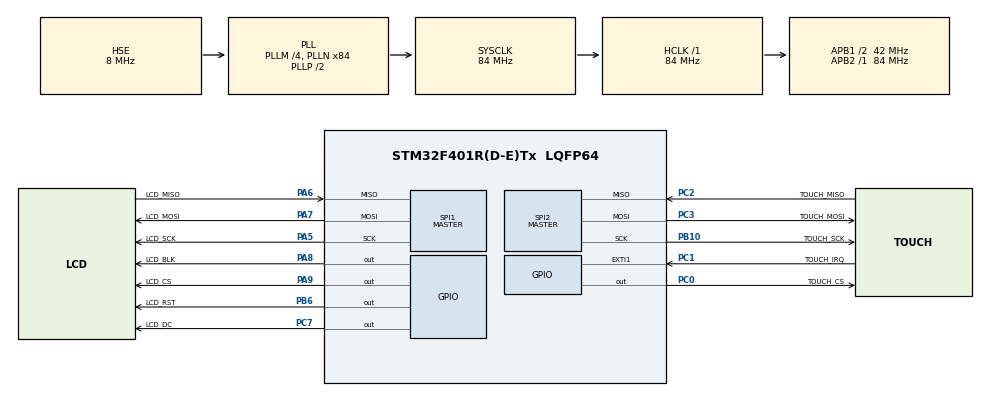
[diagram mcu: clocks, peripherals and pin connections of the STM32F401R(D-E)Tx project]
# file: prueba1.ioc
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Dma.Request0=SPI1_TX
Dma.SPI1_TX.0.Direction=DMA_MEMORY_TO_PERIPH
Dma.SPI1_TX.0.FIFOMode=DMA_FIFOMODE_DISABLE
Dma.SPI1_TX.0.Instance=DMA2_Stream3
Dma.SPI1_TX.0.MemDataAlignment=DMA_MDATAALIGN_BYTE
Dma.SPI1_TX.0.MemInc=DMA_MINC_ENABLE
Dma.SPI1_TX.0.Mode=DMA_NORMAL
Dma.SPI1_TX.0.PeriphDataAlignment=DMA_PDATAALIGN_BYTE
Dma.SPI1_TX.0.PeriphInc=DMA_PINC_DISABLE
Dma.SPI1_TX.0.Priority=DMA_PRIORITY_LOW
Mcu.Family=STM32F4
Mcu.Name=STM32F401R(D-E)Tx
Mcu.Package=LQFP64
NVIC.DMA2_Stream3_IRQn=true\:0\:0\:false\:false\:true\:false\:true\:true
NVIC.PriorityGroup=NVIC_PRIORITYGROUP_4
NVIC.TIM2_IRQn=true\:0\:0\:false\:false\:true\:true\:true\:true
PA5.GPIO_Label=LCD_SCK
PA5.Mode=Full_Duplex_Master
PA5.Signal=SPI1_SCK
PA6.GPIO_Label=LCD_MISO
PA6.Mode=Full_Duplex_Master
PA6.Signal=SPI1_MISO
PA7.GPIO_Label=LCD_MOSI
PA7.Mode=Full_Duplex_Master
PA7.Signal=SPI1_MOSI
PA8.GPIO_Label=LCD_BLK
PA8.Signal=GPIO_Output
PA9.GPIO_Label=LCD_CS
PA9.Signal=GPIO_Output
PB10.GPIO_Label=TOUCH_SCK
PB10.Mode=Full_Duplex_Master
PB10.Signal=SPI2_SCK
PB6.GPIO_Label=LCD_RST
PB6.Signal=GPIO_Output
PC0.GPIO_Label=TOUCH_CS
PC0.Signal=GPIO_Output
PC1.GPIO_Label=TOUCH_IRQ
PC1.GPIO_PuPd=GPIO_PULLUP
PC1.Signal=GPXTI1
PC2.GPIO_Label=TOUCH_MISO
PC2.Mode=Full_Duplex_Master
PC2.Signal=SPI2_MISO
PC3.GPIO_Label=TOUCH_MOSI
PC3.Mode=Full_Duplex_Master
PC3.Signal=SPI2_MOSI
PC7.GPIO_Label=LCD_DC
PC7.Signal=GPIO_Output
PH0\ -\ OSC_IN.Mode=HSE-External-Clock-Source
PH0\ -\ OSC_IN.Signal=RCC_OSC_IN
PH1\ -\ OSC_OUT.Mode=HSE-External-Clock-Source
PH1\ -\ OSC_OUT.Signal=RCC_OSC_OUT
ProjectManager.HeapSize=0x200
ProjectManager.StackSize=0x400
ProjectManager.TargetToolchain=STM32CubeIDE
RCC.48MHZClocksFreq_Value=42000000
RCC.AHBFreq_Value=84000000
RCC.APB1CLKDivider=RCC_HCLK_DIV2
RCC.APB1Freq_Value=42000000
RCC.APB1TimFreq_Value=84000000
RCC.APB2Freq_Value=84000000
RCC.APB2TimFreq_Value=84000000
RCC.CortexFreq_Value=84000000
RCC.HCLKFreq_Value=84000000
RCC.HSE_VALUE=8000000
RCC.HSI_VALUE=16000000
RCC.LSE_VALUE=32768
RCC.PLLM=4
RCC.PLLN=84
RCC.PLLSourceVirtual=RCC_PLLSOURCE_HSE
RCC.SYSCLKFreq_VALUE=84000000
RCC.SYSCLKSource=RCC_SYSCLKSOURCE_PLLCLK
RCC.VCOOutputFreq_Value=168000000
SPI1.Direction=SPI_DIRECTION_2LINES
SPI1.Mode=SPI_MODE_MASTER
SPI1.VirtualType=VM_MASTER
SPI2.BaudRatePrescaler=SPI_BAUDRATEPRESCALER_4
SPI2.Direction=SPI_DIRECTION_2LINES
SPI2.Mode=SPI_MODE_MASTER
SPI2.VirtualType=VM_MASTER
TIM2.Period=42000-1
TIM2.Prescaler=100-1
VP_TIM2_VS_ClockSourceINT.Mode=Internal
board=custom

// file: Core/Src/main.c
/* USER CODE BEGIN Header */
/**
  ******************************************************************************
  * @file           : main.c
  * @brief          : Main program body
  ******************************************************************************
  * @attention
  *
  * Copyright (c) 2023 STMicroelectronics.
  * All rights reserved.
  *
  * This software is licensed under terms that can be found in the LICENSE file
  * in the root directory of this software component.
  * If no LICENSE file comes with this software, it is provided AS-IS.
  *
  ******************************************************************************
  */
/* USER CODE END Header */
#include "main.h"

/* USER CODE BEGIN Includes */
#include "lvgl/lvgl.h"
#include "hal_stm_lvgl/tft/tft.h"
#include "hal_stm_lvgl/touch/touchpad.h"
#include "lv_examples.h"
/* USER CODE END Includes */

SPI_HandleTypeDef hspi1;
SPI_HandleTypeDef hspi2;
DMA_HandleTypeDef hdma_spi1_tx;

TIM_HandleTypeDef htim2;

void SystemClock_Config(void);
static void MX_GPIO_Init(void);
static void MX_DMA_Init(void);
static void MX_SPI1_Init(void);
static void MX_SPI2_Init(void);
static void MX_TIM2_Init(void);

int main(void)
{

  /* MCU Configuration--------------------------------------------------------*/

  /* Reset of all peripherals, Initializes the Flash interface and the Systick. */
  HAL_Init();

  /* Configure the system clock */
  SystemClock_Config();

  /* Initialize all configured peripherals */
  MX_GPIO_Init();
  MX_DMA_Init();
  MX_SPI1_Init();
  MX_SPI2_Init();
  MX_TIM2_Init();
  /* USER CODE BEGIN 2 */
  lv_init();
   tft_init();
   touchpad_init();

   lv_demo_widgets();

   HAL_TIM_Base_Start_IT(&htim2);
  /* USER CODE END 2 */

  /* Infinite loop */
  /* USER CODE BEGIN WHILE */
  while (1)
  {
	  HAL_Delay(25);
	  	  lv_task_handler();
    /* USER CODE END WHILE */

  }
}

void SystemClock_Config(void)
{
  RCC_OscInitTypeDef RCC_OscInitStruct = {0};
  RCC_ClkInitTypeDef RCC_ClkInitStruct = {0};

  /** Configure the main internal regulator output voltage
  */
  __HAL_RCC_PWR_CLK_ENABLE();
  __HAL_PWR_VOLTAGESCALING_CONFIG(PWR_REGULATOR_VOLTAGE_SCALE2);

  /** Initializes the RCC Oscillators according to the specified parameters
  * in the RCC_OscInitTypeDef structure.
  */
  RCC_OscInitStruct.OscillatorType = RCC_OSCILLATORTYPE_HSE;
  RCC_OscInitStruct.HSEState = RCC_HSE_BYPASS;
  RCC_OscInitStruct.PLL.PLLState = RCC_PLL_ON;
  RCC_OscInitStruct.PLL.PLLSource = RCC_PLLSOURCE_HSE;
  RCC_OscInitStruct.PLL.PLLM = 4;
  RCC_OscInitStruct.PLL.PLLN = 84;
  RCC_OscInitStruct.PLL.PLLP = RCC_PLLP_DIV2;
  RCC_OscInitStruct.PLL.PLLQ = 4;
  if (HAL_RCC_OscConfig(&RCC_OscInitStruct) != HAL_OK)
  {
    Error_Handler();
  }

  /** Initializes the CPU, AHB and APB buses clocks
  */
  RCC_ClkInitStruct.ClockType = RCC_CLOCKTYPE_HCLK|RCC_CLOCKTYPE_SYSCLK
                              |RCC_CLOCKTYPE_PCLK1|RCC_CLOCKTYPE_PCLK2;
  RCC_ClkInitStruct.SYSCLKSource = RCC_SYSCLKSOURCE_PLLCLK;
  RCC_ClkInitStruct.AHBCLKDivider = RCC_SYSCLK_DIV1;
  RCC_ClkInitStruct.APB1CLKDivider = RCC_HCLK_DIV2;
  RCC_ClkInitStruct.APB2CLKDivider = RCC_HCLK_DIV1;

  if (HAL_RCC_ClockConfig(&RCC_ClkInitStruct, FLASH_LATENCY_2) != HAL_OK)
  {
    Error_Handler();
  }
}

static void MX_SPI1_Init(void)
{

  /* SPI1 parameter configuration*/
  hspi1.Instance = SPI1;
  hspi1.Init.Mode = SPI_MODE_MASTER;
  hspi1.Init.Direction = SPI_DIRECTION_2LINES;
  hspi1.Init.DataSize = SPI_DATASIZE_8BIT;
  hspi1.Init.CLKPolarity = SPI_POLARITY_LOW;
  hspi1.Init.CLKPhase = SPI_PHASE_1EDGE;
  hspi1.Init.NSS = SPI_NSS_SOFT;
  hspi1.Init.BaudRatePrescaler = SPI_BAUDRATEPRESCALER_2;
  hspi1.Init.FirstBit = SPI_FIRSTBIT_MSB;
  hspi1.Init.TIMode = SPI_TIMODE_DISABLE;
  hspi1.Init.CRCCalculation = SPI_CRCCALCULATION_DISABLE;
  hspi1.Init.CRCPolynomial = 10;
  if (HAL_SPI_Init(&hspi1) != HAL_OK)
  {
    Error_Handler();
  }

}

static void MX_SPI2_Init(void)
{

  /* SPI2 parameter configuration*/
  hspi2.Instance = SPI2;
  hspi2.Init.Mode = SPI_MODE_MASTER;
  hspi2.Init.Direction = SPI_DIRECTION_2LINES;
  hspi2.Init.DataSize = SPI_DATASIZE_8BIT;
  hspi2.Init.CLKPolarity = SPI_POLARITY_LOW;
  hspi2.Init.CLKPhase = SPI_PHASE_1EDGE;
  hspi2.Init.NSS = SPI_NSS_SOFT;
  hspi2.Init.BaudRatePrescaler = SPI_BAUDRATEPRESCALER_4;
  hspi2.Init.FirstBit = SPI_FIRSTBIT_MSB;
  hspi2.Init.TIMode = SPI_TIMODE_DISABLE;
  hspi2.Init.CRCCalculation = SPI_CRCCALCULATION_DISABLE;
  hspi2.Init.CRCPolynomial = 10;
  if (HAL_SPI_Init(&hspi2) != HAL_OK)
  {
    Error_Handler();
  }

}

static void MX_TIM2_Init(void)
{

  TIM_ClockConfigTypeDef sClockSourceConfig = {0};
  TIM_MasterConfigTypeDef sMasterConfig = {0};

  htim2.Instance = TIM2;
  htim2.Init.Prescaler = 100-1;
  htim2.Init.CounterMode = TIM_COUNTERMODE_UP;
  htim2.Init.Period = 42000-1;
  htim2.Init.ClockDivision = TIM_CLOCKDIVISION_DIV1;
  htim2.Init.AutoReloadPreload = TIM_AUTORELOAD_PRELOAD_DISABLE;
  if (HAL_TIM_Base_Init(&htim2) != HAL_OK)
  {
    Error_Handler();
  }
  sClockSourceConfig.ClockSource = TIM_CLOCKSOURCE_INTERNAL;
  if (HAL_TIM_ConfigClockSource(&htim2, &sClockSourceConfig) != HAL_OK)
  {
    Error_Handler();
  }
  sMasterConfig.MasterOutputTrigger = TIM_TRGO_RESET;
  sMasterConfig.MasterSlaveMode = TIM_MASTERSLAVEMODE_DISABLE;
  if (HAL_TIMEx_MasterConfigSynchronization(&htim2, &sMasterConfig) != HAL_OK)
  {
    Error_Handler();
  }

}

static void MX_DMA_Init(void)
{

  /* DMA controller clock enable */
  __HAL_RCC_DMA2_CLK_ENABLE();

  /* DMA interrupt init */
  /* DMA2_Stream3_IRQn interrupt configuration */
  HAL_NVIC_SetPriority(DMA2_Stream3_IRQn, 0, 0);
  HAL_NVIC_EnableIRQ(DMA2_Stream3_IRQn);

}

static void MX_GPIO_Init(void)
{
  GPIO_InitTypeDef GPIO_InitStruct = {0};

  /* GPIO Ports Clock Enable */
  __HAL_RCC_GPIOH_CLK_ENABLE();
  __HAL_RCC_GPIOC_CLK_ENABLE();
  __HAL_RCC_GPIOA_CLK_ENABLE();
  __HAL_RCC_GPIOB_CLK_ENABLE();

  /*Configure GPIO pin Output Level */
  HAL_GPIO_WritePin(GPIOC, TOUCH_CS_Pin|LCD_DC_Pin, GPIO_PIN_RESET);

  /*Configure GPIO pin Output Level */
  HAL_GPIO_WritePin(GPIOA, LCD_BLK_Pin|LCD_CS_Pin, GPIO_PIN_RESET);

  /*Configure GPIO pin Output Level */
  HAL_GPIO_WritePin(LCD_RST_GPIO_Port, LCD_RST_Pin, GPIO_PIN_RESET);

  /*Configure GPIO pins : TOUCH_CS_Pin LCD_DC_Pin */
  GPIO_InitStruct.Pin = TOUCH_CS_Pin|LCD_DC_Pin;
  GPIO_InitStruct.Mode = GPIO_MODE_OUTPUT_PP;
  GPIO_InitStruct.Pull = GPIO_NOPULL;
  GPIO_InitStruct.Speed = GPIO_SPEED_FREQ_LOW;
  HAL_GPIO_Init(GPIOC, &GPIO_InitStruct);

  /*Configure GPIO pin : TOUCH_IRQ_Pin */
  GPIO_InitStruct.Pin = TOUCH_IRQ_Pin;
  GPIO_InitStruct.Mode = GPIO_MODE_IT_RISING;
  GPIO_InitStruct.Pull = GPIO_PULLUP;
  HAL_GPIO_Init(TOUCH_IRQ_GPIO_Port, &GPIO_InitStruct);

  /*Configure GPIO pins : LCD_BLK_Pin LCD_CS_Pin */
  GPIO_InitStruct.Pin = LCD_BLK_Pin|LCD_CS_Pin;
  GPIO_InitStruct.Mode = GPIO_MODE_OUTPUT_PP;
  GPIO_InitStruct.Pull = GPIO_NOPULL;
  GPIO_InitStruct.Speed = GPIO_SPEED_FREQ_LOW;
  HAL_GPIO_Init(GPIOA, &GPIO_InitStruct);

  /*Configure GPIO pin : LCD_RST_Pin */
  GPIO_InitStruct.Pin = LCD_RST_Pin;
  GPIO_InitStruct.Mode = GPIO_MODE_OUTPUT_PP;
  GPIO_InitStruct.Pull = GPIO_NOPULL;
  GPIO_InitStruct.Speed = GPIO_SPEED_FREQ_LOW;
  HAL_GPIO_Init(LCD_RST_GPIO_Port, &GPIO_InitStruct);

}

/* USER CODE BEGIN 4 */
void HAL_TIM_PeriodElapsedCallback(TIM_HandleTypeDef *htim)
{
  /* Prevent unused argument(s) compilation warning */
  UNUSED(htim);

	if(htim->Instance == TIM2)
	{
		lv_tick_inc(5);      /*Tell LVGL that 5 milliseconds were elapsed*/
	}

  /* NOTE : This function should not be modified, when the callback is needed,
            the HAL_TIM_PeriodElapsedCallback could be implemented in the user file
   */
}
/* USER CODE END 4 */

void Error_Handler(void)
{
  __disable_irq();
  while (1)
  {
  }
}
